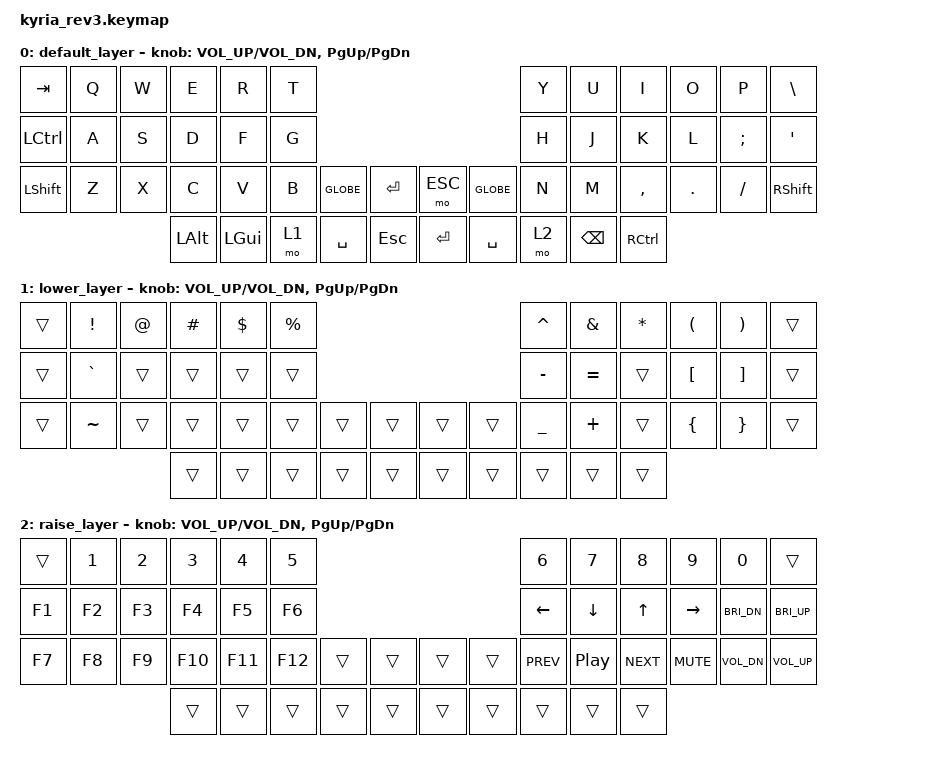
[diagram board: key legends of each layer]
/*
 * Copyright (c) 2023 The ZMK Contributors
 *
 * SPDX-License-Identifier: MIT
 */

#include <behaviors.dtsi>
#include <dt-bindings/zmk/bt.h>
#include <dt-bindings/zmk/keys.h>

/* Uncomment this block if using RGB
&led_strip {
    chain-length = <6>;
    // chain-length = <31>; // Uncomment if using both per-key and underglow LEDs
    // chain-length = <25>; // Uncomment if using only per-key LEDs.
};
 */

/ {
    keymap {
        compatible = "zmk,keymap";

        default_layer {
            // ------------------------------------------------------------------------------------------------------------------------
            // |  TAB  |  Q  |  W  |  E  |  R  |  T    |                                  |  Y    |  U   |  I     |  O  |  P  |   \   |
            // |  CTRL |  A  |  S  |  D  |  F  |  G    |                                  |  H    |  J   |  K     |  L  |  ;  |   '   |
            // | SHIFT |  Z  |  X  |  C  |  V  |  B    | GLOBE | ENTER |  |  ESC  | GLOBE |  N    |  M   |  ,     |  .  |  /  | RSHFT |
            //                     | ALT | GUI | LOWER | SPACE |  ESC  |  | ENTER | SPACE | RAISE | BSPC | R-CTRL |
            bindings = <
            &kp TAB   &kp Q &kp W &kp E    &kp R    &kp T                                      &kp Y &kp U    &kp I     &kp O   &kp P    &kp BSLH
            &kp LCTRL &kp A &kp S &kp D    &kp F    &kp G                                      &kp H &kp J    &kp K     &kp L   &kp SEMI &kp SQT
            &kp LSHFT &kp Z &kp X &kp C    &kp V    &kp B &kp GLOBE &kp RET  &mo ESC &kp GLOBE &kp N &kp M    &kp COMMA &kp DOT &kp FSLH &kp RSHFT
                                  &kp LALT &kp LGUI &mo 1 &kp SPACE &kp ESC  &kp RET &kp SPACE &mo 2 &kp BSPC &kp RCTRL
            >;

            sensor-bindings = <&inc_dec_kp C_VOL_UP C_VOL_DN &inc_dec_kp PG_UP PG_DN>;
        };

        lower_layer {
            // ---------------------------------------------------------------------------------------------
            // |   |  !  |  @  |  #  |  $  |  %  |                     |  ^    |  &  |  *  |  (  |  )  |   |
            // |   |  `  |     |     |     |     |                     |  -    |  =  |     |  [  |  ]  |   |
            // |   |  ~  |     |     |     |     |    |    |  |    |   |  _    |  +  |     |  {  |  }  |   |
            //                 |     |     |     |    |    |  |    |   |       |     |     |
                        bindings = <
            &trans &kp EXCL  &kp AT &kp HASH &kp DOLLAR &kp PRCNT                              &kp CARET  &kp AMPS  &kp STAR &kp LPAR &kp RPAR &trans
            &trans &kp GRAVE &trans &trans   &trans     &trans                                 &kp MINUS  &kp EQUAL &trans   &kp LBKT &kp RBKT &trans
            &trans &kp TILDE &trans &trans   &trans     &trans    &trans &trans  &trans &trans &kp UNDER  &kp PLUS  &trans   &kp LBRC &kp RBRC &trans
                                    &trans   &trans     &trans    &trans &trans  &trans &trans &trans     &trans    &trans
            >;

            sensor-bindings = <&inc_dec_kp C_VOL_UP C_VOL_DN &inc_dec_kp PG_UP PG_DN>;
        };

        raise_layer {
            // --------------------------------------------------------------------------------------------------------------
            // | GLOBE |  1  |  2  |  3  |  4  |  5  |                   |  6    |   7    |   8    |  9   |   0    |        |
            // |  F1   | F2  | F3  | F4  | F5  | F6  |                   |  <-   |   v    |   ^    |  ->  | BRI_DN | BRI_UP |
            // |  F7   | F8  | F9  | F10 | F11 | F12 |        |  |       | PREV  |  PP    | NEXT   | MUTE | VOL_DN | VOL_UP |
            //                     |     |     |     |        |  |       |       |        |        |
                        bindings = <
            &trans &kp N1 &kp N2 &kp N3  &kp N4  &kp N5                               &kp N6     &kp N7   &kp N8     &kp N9     &kp N0       &trans
            &kp F1 &kp F2 &kp F3 &kp F4  &kp F5  &kp F6                               &kp LEFT   &kp DOWN &kp UP     &kp RIGHT  &kp C_BRI_DN &kp C_BRI_UP
            &kp F7 &kp F8 &kp F9 &kp F10 &kp F11 &kp F12 &trans &trans  &trans &trans &kp C_PREV &kp C_PP &kp C_NEXT &kp C_MUTE &kp C_VOL_DN &kp C_VOL_UP
                                 &trans  &trans  &trans  &trans &trans  &trans &trans &trans     &trans   &trans
            >;

            sensor-bindings = <&inc_dec_kp C_VOL_UP C_VOL_DN &inc_dec_kp PG_UP PG_DN>;
        };
    };
};
